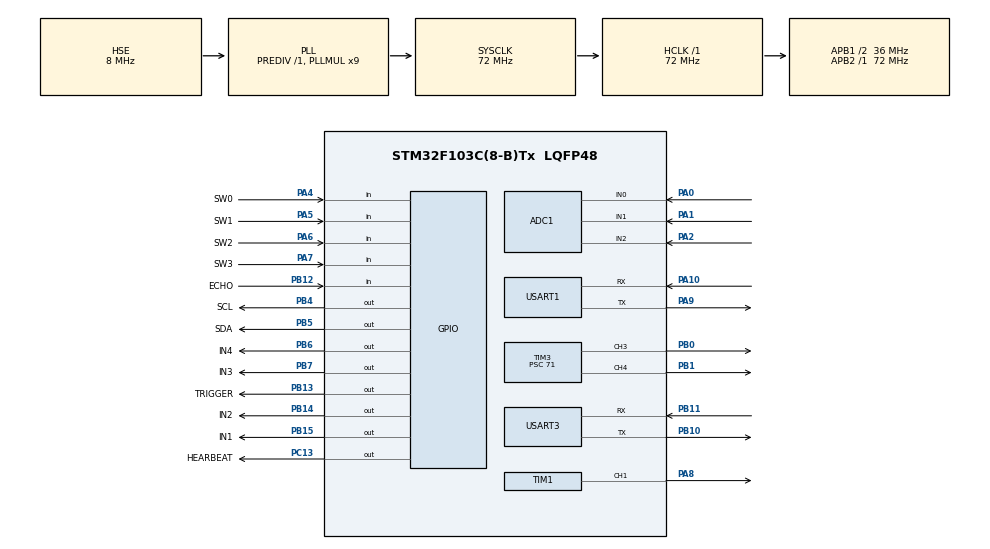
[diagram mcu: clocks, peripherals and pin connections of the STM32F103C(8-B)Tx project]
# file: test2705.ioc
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ADC1.Channel-1\#ChannelRegularConversion=ADC_CHANNEL_0
ADC1.Channel-2\#ChannelRegularConversion=ADC_CHANNEL_0
ADC1.Channel-3\#ChannelRegularConversion=ADC_CHANNEL_0
ADC1.ExternalTrigConv=ADC_EXTERNALTRIGCONV_T4_CC4
ADC1.NbrOfConversion=3
ADC1.NbrOfConversionFlag=1
ADC1.Rank-1\#ChannelRegularConversion=1
ADC1.Rank-2\#ChannelRegularConversion=2
ADC1.Rank-3\#ChannelRegularConversion=3
ADC1.SamplingTime-1\#ChannelRegularConversion=ADC_SAMPLETIME_1CYCLE_5
ADC1.SamplingTime-2\#ChannelRegularConversion=ADC_SAMPLETIME_1CYCLE_5
ADC1.SamplingTime-3\#ChannelRegularConversion=ADC_SAMPLETIME_1CYCLE_5
ADC1.master=1
Dma.ADC1.0.Direction=DMA_PERIPH_TO_MEMORY
Dma.ADC1.0.Instance=DMA1_Channel1
Dma.ADC1.0.MemDataAlignment=DMA_MDATAALIGN_HALFWORD
Dma.ADC1.0.MemInc=DMA_MINC_ENABLE
Dma.ADC1.0.Mode=DMA_CIRCULAR
Dma.ADC1.0.PeriphDataAlignment=DMA_PDATAALIGN_HALFWORD
Dma.ADC1.0.PeriphInc=DMA_PINC_DISABLE
Dma.ADC1.0.Priority=DMA_PRIORITY_LOW
Dma.Request0=ADC1
Mcu.Family=STM32F1
Mcu.Name=STM32F103C(8-B)Tx
Mcu.Package=LQFP48
NVIC.DMA1_Channel1_IRQn=true\:0\:0\:false\:false\:true\:false\:true\:true
NVIC.PriorityGroup=NVIC_PRIORITYGROUP_4
NVIC.TIM2_IRQn=true\:0\:0\:false\:false\:true\:true\:true\:true
NVIC.USART1_IRQn=true\:0\:0\:false\:false\:true\:true\:true\:true
NVIC.USART3_IRQn=true\:0\:0\:false\:false\:true\:true\:true\:true
PA0-WKUP.Signal=ADCx_IN0
PA1.Signal=ADCx_IN1
PA10.Mode=Asynchronous
PA10.Signal=USART1_RX
PA13.Mode=Serial_Wire
PA13.Signal=SYS_JTMS-SWDIO
PA14.Mode=Serial_Wire
PA14.Signal=SYS_JTCK-SWCLK
PA2.Signal=ADCx_IN2
PA4.GPIO_Label=SW0
PA4.Signal=GPIO_Input
PA5.GPIO_Label=SW1
PA5.Signal=GPIO_Input
PA6.GPIO_Label=SW2
PA6.Signal=GPIO_Input
PA7.GPIO_Label=SW3
PA7.Signal=GPIO_Input
PA8.Signal=S_TIM1_CH1
PA9.Mode=Asynchronous
PA9.Signal=USART1_TX
PB0.Signal=S_TIM3_CH3
PB1.Signal=S_TIM3_CH4
PB10.Mode=Asynchronous
PB10.Signal=USART3_TX
PB11.Mode=Asynchronous
PB11.Signal=USART3_RX
PB12.GPIO_Label=ECHO
PB12.Signal=GPIO_Input
PB13.GPIO_Label=TRIGGER
PB13.Signal=GPIO_Output
PB14.GPIO_Label=IN2
PB14.Signal=GPIO_Output
PB15.GPIO_Label=IN1
PB15.Signal=GPIO_Output
PB4.GPIO_Label=SCL
PB4.Signal=GPIO_Output
PB5.GPIO_Label=SDA
PB5.Signal=GPIO_Output
PB6.GPIO_Label=IN4
PB6.Signal=GPIO_Output
PB7.GPIO_Label=IN3
PB7.Signal=GPIO_Output
PC13-TAMPER-RTC.GPIO_Label=HEARBEAT
PC13-TAMPER-RTC.Signal=GPIO_Output
PC14-OSC32_IN.Mode=LSE-External-Oscillator
PC14-OSC32_IN.Signal=RCC_OSC32_IN
PC15-OSC32_OUT.Mode=LSE-External-Oscillator
PC15-OSC32_OUT.Signal=RCC_OSC32_OUT
PD0-OSC_IN.Mode=HSE-External-Oscillator
PD0-OSC_IN.Signal=RCC_OSC_IN
PD1-OSC_OUT.Mode=HSE-External-Oscillator
PD1-OSC_OUT.Signal=RCC_OSC_OUT
ProjectManager.HeapSize=0x200
ProjectManager.StackSize=0x400
ProjectManager.TargetToolchain=STM32CubeIDE
RCC.ADCPresc=RCC_ADCPCLK2_DIV6
RCC.AHBFreq_Value=72000000
RCC.APB1CLKDivider=RCC_HCLK_DIV2
RCC.APB1Freq_Value=36000000
RCC.APB1TimFreq_Value=72000000
RCC.APB2Freq_Value=72000000
RCC.APB2TimFreq_Value=72000000
RCC.HCLKFreq_Value=72000000
RCC.PLLMUL=RCC_PLL_MUL9
RCC.PLLSourceVirtual=RCC_PLLSOURCE_HSE
RCC.SYSCLKFreq_VALUE=72000000
RCC.SYSCLKSource=RCC_SYSCLKSOURCE_PLLCLK
RCC.USBFreq_Value=72000000
SH.ADCx_IN0.0=ADC1_IN0,IN0
SH.ADCx_IN1.0=ADC1_IN1,IN1
SH.ADCx_IN2.0=ADC1_IN2,IN2
SH.S_TIM1_CH1.0=TIM1_CH1,PWM Generation1 CH1
SH.S_TIM3_CH3.0=TIM3_CH3,PWM Generation3 CH3
SH.S_TIM3_CH4.0=TIM3_CH4,PWM Generation4 CH4
TIM1.Channel-PWM\ Generation1\ CH1=TIM_CHANNEL_1
TIM1.Period=19999
TIM1.Prescaler=71
TIM2.Period=99
TIM2.Prescaler=71
TIM3.Channel-PWM\ Generation3\ CH3=TIM_CHANNEL_3
TIM3.Channel-PWM\ Generation4\ CH4=TIM_CHANNEL_4
TIM3.Period=999
TIM3.Prescaler=71
TIM4.Channel-Output\ Compare4\ No\ Output=TIM_CHANNEL_4
TIM4.Period=128
TIM4.Prescaler=71
TIM4.Pulse-Output\ Compare4\ No\ Output=62
TIM4.TIM_MasterOutputTrigger=TIM_TRGO_OC4REF
USART1.VirtualMode=VM_ASYNC
USART3.VirtualMode=VM_ASYNC
VP_TIM2_VS_ClockSourceINT.Mode=Internal
VP_TIM3_VS_ClockSourceINT.Mode=Internal
VP_TIM4_VS_ClockSourceINT.Mode=Internal
VP_TIM4_VS_no_output4.Mode=Output Compare4 No Output
board=custom

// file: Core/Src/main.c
/* USER CODE BEGIN Header */
/**
  ******************************************************************************
  * @file           : main.c
  * @brief          : Main program body
  ******************************************************************************
  * @attention
  *
  * Copyright (c) 2026 STMicroelectronics.
  * All rights reserved.
  *
  * This software is licensed under terms that can be found in the LICENSE file
  * in the root directory of this software component.
  * If no LICENSE file comes with this software, it is provided AS-IS.
  *
  ******************************************************************************
  */
/* USER CODE END Header */
#include "main.h"

/* USER CODE BEGIN Includes */
#include "string.h"
#include "stdio.h"
#include "hcsr04.h"
#include "soft_i2c.h"
#include "ssd1306.h"
#include "ESP01.h"
#include "protocolo.h"
/* USER CODE END Includes */

/* USER CODE BEGIN PTD */
typedef enum {
	CONN_NONE,
	CONN_CONNECTING,
	CONN_WIFI,
	CONN_USB
} _eConnType;
typedef enum {
	MODE_MANUAL,
	MODE_LINE
} _eModeType;
typedef struct {
    uint8_t  buf[256];
    volatile uint16_t iw;
    volatile uint16_t ir;
    volatile uint8_t  active;
} _sUartTxBuf;
/* USER CODE END PTD */

/* USER CODE BEGIN PD */
#define UART_TX_BUF_SIZE 256
/* USER CODE END PD */

ADC_HandleTypeDef hadc1;
DMA_HandleTypeDef hdma_adc1;

TIM_HandleTypeDef htim1;
TIM_HandleTypeDef htim2;
TIM_HandleTypeDef htim3;
TIM_HandleTypeDef htim4;

UART_HandleTypeDef huart1;
UART_HandleTypeDef huart3;

/* USER CODE BEGIN PV */

volatile _eConnType conex_type = CONN_NONE;
volatile _eModeType mode_type = MODE_MANUAL;
uint16_t adc_dma_buf[3] = {0};
volatile uint8_t flag_loop = 0;
uint8_t display_mode = 0;
volatile uint8_t flag_2seg = 0;
volatile uint32_t now_us = 0;
volatile float distancia = 0;
volatile uint16_t pwm_actual = 500;
//uint16_t adc_buf[3];
//192.168.1.10
uint8_t uart1_rx_byte;
uint8_t esp_rx_byte;
HCSR04_t sonar;
SSD1306_t display;
_sESP01Handle hESP01;
_sUartTxBuf uart1_tx = {0};
_sUartTxBuf uart3_tx = {0};
/* USER CODE END PV */

void SystemClock_Config(void);
static void MX_GPIO_Init(void);
static void MX_DMA_Init(void);
static void MX_ADC1_Init(void);
static void MX_USART1_UART_Init(void);
static void MX_TIM2_Init(void);
static void MX_TIM3_Init(void);
static void MX_USART3_UART_Init(void);
static void MX_TIM4_Init(void);
static void MX_TIM1_Init(void);
/* USER CODE BEGIN PFP */
void onESP01StateChange(_eESP01STATUS state);
void CmdParser(uint8_t cmd, uint8_t *payload, uint8_t n);
void trigger_set(uint8_t state);
uint8_t echo_get(void);
void sonar_result(float dist_cm);
void UART1_Send(uint8_t *data, uint16_t len);
void UartTx_Send(_sUartTxBuf *h, UART_HandleTypeDef *huart, uint8_t *data, uint16_t len);
void UartTx_TxCpltCallback(_sUartTxBuf *h, UART_HandleTypeDef *huart);
/* USER CODE END PFP */

/* USER CODE BEGIN 0 */
const char* ConnStr(void) {
    switch(conex_type) {
        case CONN_NONE:       return "Sin conex";
        case CONN_CONNECTING: return "Conectando";
        case CONN_WIFI:       return "WiFi";
        case CONN_USB:        return "USB";
        default:              return "?";
    }
}
const char* ModeStr(void) {
    switch(mode_type) {
        case MODE_MANUAL: return "Manual";
        case MODE_LINE:   return "S.Linea";
        default:          return "?";
    }
}
void UartTx_Send(_sUartTxBuf *h, UART_HandleTypeDef *huart, uint8_t *data, uint16_t len)
{
    for (uint16_t i = 0; i < len; i++) {
        h->buf[h->iw++] = data[i];
        h->iw &= (UART_TX_BUF_SIZE - 1);
    }
    if (!h->active) {
        h->active = 1;
        HAL_UART_Transmit_IT(huart, &h->buf[h->ir], 1);
    }
}

void UartTx_TxCpltCallback(_sUartTxBuf *h, UART_HandleTypeDef *huart)
{
    h->ir++;
    h->ir &= (UART_TX_BUF_SIZE - 1);
    if (h->ir != h->iw)
        HAL_UART_Transmit_IT(huart, &h->buf[h->ir], 1);
    else
        h->active = 0;
}
void ESP01_DebugCallback(const char *str)
{
    // Canal 1: crudo por UART1
	UART1_Send((uint8_t*)str, strlen(str));

    // Canal 2: empaquetado como TEL_LOG para que la HMI lo muestre bonito
    uint8_t len = strlen(str);
    Encode(0x33, (uint8_t*)str, len);
    uint8_t send_buf[64];
    uint8_t send_len = 0;
    while (tx.rBuf.ir != tx.rBuf.iw) {
        send_buf[send_len++] = tx.rBuf.buf[tx.rBuf.ir++];
        tx.rBuf.ir &= (tx.rBuf.size - 1);
    }
    if (send_len > 0)
    	UART1_Send(send_buf, send_len);
}
int __io_putchar(int ch)
{
	UART1_Send((uint8_t *)&ch, 1);
    return ch;
}

void ESP01_DoCHPD(uint8_t value)
{
    // CH_PD fijo a 3.3V, no necesita control
}

int ESP01_WriteUSARTByte(uint8_t value)
{
    UartTx_Send(&uart3_tx, &huart3, &value, 1);
    return 1;
}
void ESP01_WriteByteToBufRX(uint8_t value)
{
    rx.rBuf.buf[rx.rBuf.iw++] = value;
    rx.rBuf.iw &= (rx.rBuf.size - 1);
}
/* USER CODE END 0 */

int main(void)
{

  /* MCU Configuration--------------------------------------------------------*/

  /* Reset of all peripherals, Initializes the Flash interface and the Systick. */
  HAL_Init();

  /* Configure the system clock */
  SystemClock_Config();

  /* Initialize all configured peripherals */
  MX_GPIO_Init();
  MX_DMA_Init();
  MX_ADC1_Init();
  MX_USART1_UART_Init();
  MX_TIM2_Init();
  MX_TIM3_Init();
  MX_USART3_UART_Init();
  MX_TIM4_Init();
  MX_TIM1_Init();
  /* USER CODE BEGIN 2 */
  Protocolo_Init();
  Protocolo_SetCmdParser(CmdParser);
  HAL_TIM_PWM_Start(&htim1, TIM_CHANNEL_1);
  __HAL_TIM_SET_COMPARE(&htim1, TIM_CHANNEL_1, 1500);
  HAL_TIM_Base_Start_IT(&htim2);
  HAL_UART_Receive_IT(&huart1, &uart1_rx_byte, 1);
  HAL_ADCEx_Calibration_Start(&hadc1);
  HAL_ADC_Start_DMA(&hadc1, (uint32_t*)adc_dma_buf, 3);
  HAL_TIM_Base_Start(&htim4);
  HAL_TIM_OC_Start(&htim4, TIM_CHANNEL_4);
  HAL_TIM_PWM_Start(&htim3, TIM_CHANNEL_3);
  HAL_TIM_PWM_Start(&htim3, TIM_CHANNEL_4);
  HCSR04_Init(&sonar, trigger_set, echo_get, sonar_result);
  SSD1306_Init(&display, soft_i2c_write, SSD1306_ADDR);
  SSD1306_Clear(&display);
  SSD1306_DrawText(&display, 0, 0, "UNER-MECATRONICA", 1);
  SSD1306_Update(&display);
  hESP01.DoCHPD         = ESP01_DoCHPD;
  hESP01.WriteUSARTByte = ESP01_WriteUSARTByte;
  hESP01.WriteByteToBufRX = ESP01_WriteByteToBufRX;
  HAL_UART_Receive_IT(&huart3, &esp_rx_byte, 1);
  ESP01_Init(&hESP01);
  ESP01_AttachDebugStr(ESP01_DebugCallback);
  ESP01_AttachChangeState(onESP01StateChange);
  ESP01_SetWIFI("PANOZZOZENERE", "PANOZZO2402");
  //"InternetPlus_2e7438", "wland18bc7"
  /* USER CODE END 2 */

  /* Infinite loop */
  /* USER CODE BEGIN WHILE */
  while (1)
  {
	  ESP01_Task();
	  Decode();

	  if (flag_2seg) {
	      flag_2seg = 0;
	      if (display_mode == 0) {
	          display_mode = 1;  // después de 2 seg pasamos a telemetría
	      }
	  }

      if (flag_loop)
      {
          flag_loop = 0;

          uint32_t adc_izq = adc_dma_buf[0];
          uint32_t adc_cen = adc_dma_buf[1];
          uint32_t adc_der = adc_dma_buf[2];
          uint16_t dist_int = (distancia < 0) ? 0xFFFF : (uint16_t)distancia;

          SSD1306_Clear(&display);
              if (display_mode == 0) {
                  SSD1306_DrawText(&display, 0, 0, "UNER-MECATRONICA", 1);
              } else {
            	  char buf[32];
            	  sprintf(buf, "ESTATUS:");
            	  SSD1306_DrawText(&display, 0, 0, buf, 1);
            	  sprintf(buf, "Conexion: %s", ConnStr());
            	  SSD1306_DrawText(&display, 0, 1, buf, 1);
            	  sprintf(buf, "Modo: %s", ModeStr());
            	  SSD1306_DrawText(&display, 0, 1, buf, 1);
            	  sprintf(buf, "IR: %d %d %d", (int)adc_izq, (int)adc_cen, (int)adc_der);
            	  SSD1306_DrawText(&display, 0, 2, buf, 1);
            	  sprintf(buf, "Dist:%d", dist_int == 0xFFFF ? 9999 : dist_int);
            	  SSD1306_DrawText(&display, 0, 3, buf, 1);
            	  sprintf(buf, "PWM:%d", pwm_actual);
            	  SSD1306_DrawText(&display, 9, 3, buf, 1);
            	  //x es la columna en píxeles — va de 0 a 20
            	  //y es la fila en píxeles — va de 0 a 7
              }
              SSD1306_Update(&display);

              uint8_t payload[8];
              payload[0] = (uint8_t)(adc_izq >> 8);
              payload[1] = (uint8_t)(adc_izq & 0xFF);
              payload[2] = (uint8_t)(adc_cen >> 8);
              payload[3] = (uint8_t)(adc_cen & 0xFF);
              payload[4] = (uint8_t)(adc_der >> 8);
              payload[5] = (uint8_t)(adc_der & 0xFF);
              payload[6] = (uint8_t)(dist_int >> 8);
              payload[7] = (uint8_t)(dist_int & 0xFF);
              Encode(0x30, payload, 8);

              // 3. Extraemos los bytes del búfer circular de transmisión (tx)
                    uint8_t send_buf[32];
                    uint8_t send_len = 0;

                    // Vaciamos el búfer circular hacia un arreglo lineal para DMA/Polling
                    // (Asumiendo que 'tx' está accesible vía protocolo.h)
                    while (tx.rBuf.ir != tx.rBuf.iw)
                    {
                        send_buf[send_len++] = tx.rBuf.buf[tx.rBuf.ir++];
                        // El enmascaramiento bit a bit asegura la circularidad formal (potencia de 2)
                        tx.rBuf.ir &= (tx.rBuf.size - 1);
                    }

                    // 4. Transmitimos el datagrama completo a las interfaces físicas
                    if (send_len > 0) {
                    	UART1_Send(send_buf, send_len);
                        if (ESP01_StateUDPTCP() == ESP01_UDPTCP_CONNECTED) {
                            if (ESP01_Send(send_buf, 0, send_len, send_len) == ESP01_SEND_READY) {
                                // ok
                            }
                        }
                    }

      }
    /* USER CODE END WHILE */

  }
}

void SystemClock_Config(void)
{
  RCC_OscInitTypeDef RCC_OscInitStruct = {0};
  RCC_ClkInitTypeDef RCC_ClkInitStruct = {0};
  RCC_PeriphCLKInitTypeDef PeriphClkInit = {0};

  /** Initializes the RCC Oscillators according to the specified parameters
  * in the RCC_OscInitTypeDef structure.
  */
  RCC_OscInitStruct.OscillatorType = RCC_OSCILLATORTYPE_HSE;
  RCC_OscInitStruct.HSEState = RCC_HSE_ON;
  RCC_OscInitStruct.HSEPredivValue = RCC_HSE_PREDIV_DIV1;
  RCC_OscInitStruct.HSIState = RCC_HSI_ON;
  RCC_OscInitStruct.PLL.PLLState = RCC_PLL_ON;
  RCC_OscInitStruct.PLL.PLLSource = RCC_PLLSOURCE_HSE;
  RCC_OscInitStruct.PLL.PLLMUL = RCC_PLL_MUL9;
  if (HAL_RCC_OscConfig(&RCC_OscInitStruct) != HAL_OK)
  {
    Error_Handler();
  }

  /** Initializes the CPU, AHB and APB buses clocks
  */
  RCC_ClkInitStruct.ClockType = RCC_CLOCKTYPE_HCLK|RCC_CLOCKTYPE_SYSCLK
                              |RCC_CLOCKTYPE_PCLK1|RCC_CLOCKTYPE_PCLK2;
  RCC_ClkInitStruct.SYSCLKSource = RCC_SYSCLKSOURCE_PLLCLK;
  RCC_ClkInitStruct.AHBCLKDivider = RCC_SYSCLK_DIV1;
  RCC_ClkInitStruct.APB1CLKDivider = RCC_HCLK_DIV2;
  RCC_ClkInitStruct.APB2CLKDivider = RCC_HCLK_DIV1;

  if (HAL_RCC_ClockConfig(&RCC_ClkInitStruct, FLASH_LATENCY_2) != HAL_OK)
  {
    Error_Handler();
  }
  PeriphClkInit.PeriphClockSelection = RCC_PERIPHCLK_ADC;
  PeriphClkInit.AdcClockSelection = RCC_ADCPCLK2_DIV6;
  if (HAL_RCCEx_PeriphCLKConfig(&PeriphClkInit) != HAL_OK)
  {
    Error_Handler();
  }
}

static void MX_ADC1_Init(void)
{

  ADC_ChannelConfTypeDef sConfig = {0};

  /** Common config
  */
  hadc1.Instance = ADC1;
  hadc1.Init.ScanConvMode = ADC_SCAN_ENABLE;
  hadc1.Init.ContinuousConvMode = DISABLE;
  hadc1.Init.DiscontinuousConvMode = DISABLE;
  hadc1.Init.ExternalTrigConv = ADC_EXTERNALTRIGCONV_T4_CC4;
  hadc1.Init.DataAlign = ADC_DATAALIGN_RIGHT;
  hadc1.Init.NbrOfConversion = 3;
  if (HAL_ADC_Init(&hadc1) != HAL_OK)
  {
    Error_Handler();
  }

  /** Configure Regular Channel
  */
  sConfig.Channel = ADC_CHANNEL_0;
  sConfig.Rank = ADC_REGULAR_RANK_1;
  sConfig.SamplingTime = ADC_SAMPLETIME_1CYCLE_5;
  if (HAL_ADC_ConfigChannel(&hadc1, &sConfig) != HAL_OK)
  {
    Error_Handler();
  }

  /** Configure Regular Channel
  */
  sConfig.Rank = ADC_REGULAR_RANK_2;
  if (HAL_ADC_ConfigChannel(&hadc1, &sConfig) != HAL_OK)
  {
    Error_Handler();
  }

  /** Configure Regular Channel
  */
  sConfig.Rank = ADC_REGULAR_RANK_3;
  if (HAL_ADC_ConfigChannel(&hadc1, &sConfig) != HAL_OK)
  {
    Error_Handler();
  }
  /* USER CODE BEGIN ADC1_Init 2 */
  hadc1.Init.ExternalTrigConv = ADC_EXTERNALTRIGCONV_T4_CC4;
  hadc1.Init.ContinuousConvMode = DISABLE;
  HAL_ADC_Init(&hadc1);

  ADC_ChannelConfTypeDef sConfigFix = {0};
  sConfigFix.SamplingTime = ADC_SAMPLETIME_55CYCLES_5;

  sConfigFix.Channel = ADC_CHANNEL_1;
  sConfigFix.Rank = ADC_REGULAR_RANK_2;
  HAL_ADC_ConfigChannel(&hadc1, &sConfigFix);

  sConfigFix.Channel = ADC_CHANNEL_2;
  sConfigFix.Rank = ADC_REGULAR_RANK_3;
  HAL_ADC_ConfigChannel(&hadc1, &sConfigFix);
  /* USER CODE END ADC1_Init 2 */

}

static void MX_TIM1_Init(void)
{

  TIM_MasterConfigTypeDef sMasterConfig = {0};
  TIM_OC_InitTypeDef sConfigOC = {0};
  TIM_BreakDeadTimeConfigTypeDef sBreakDeadTimeConfig = {0};

  htim1.Instance = TIM1;
  htim1.Init.Prescaler = 71;
  htim1.Init.CounterMode = TIM_COUNTERMODE_UP;
  htim1.Init.Period = 19999;
  htim1.Init.ClockDivision = TIM_CLOCKDIVISION_DIV1;
  htim1.Init.RepetitionCounter = 0;
  htim1.Init.AutoReloadPreload = TIM_AUTORELOAD_PRELOAD_DISABLE;
  if (HAL_TIM_PWM_Init(&htim1) != HAL_OK)
  {
    Error_Handler();
  }
  sMasterConfig.MasterOutputTrigger = TIM_TRGO_RESET;
  sMasterConfig.MasterSlaveMode = TIM_MASTERSLAVEMODE_DISABLE;
  if (HAL_TIMEx_MasterConfigSynchronization(&htim1, &sMasterConfig) != HAL_OK)
  {
    Error_Handler();
  }
  sConfigOC.OCMode = TIM_OCMODE_PWM1;
  sConfigOC.Pulse = 0;
  sConfigOC.OCPolarity = TIM_OCPOLARITY_HIGH;
  sConfigOC.OCNPolarity = TIM_OCNPOLARITY_HIGH;
  sConfigOC.OCFastMode = TIM_OCFAST_DISABLE;
  sConfigOC.OCIdleState = TIM_OCIDLESTATE_RESET;
  sConfigOC.OCNIdleState = TIM_OCNIDLESTATE_RESET;
  if (HAL_TIM_PWM_ConfigChannel(&htim1, &sConfigOC, TIM_CHANNEL_1) != HAL_OK)
  {
    Error_Handler();
  }
  sBreakDeadTimeConfig.OffStateRunMode = TIM_OSSR_DISABLE;
  sBreakDeadTimeConfig.OffStateIDLEMode = TIM_OSSI_DISABLE;
  sBreakDeadTimeConfig.LockLevel = TIM_LOCKLEVEL_OFF;
  sBreakDeadTimeConfig.DeadTime = 0;
  sBreakDeadTimeConfig.BreakState = TIM_BREAK_DISABLE;
  sBreakDeadTimeConfig.BreakPolarity = TIM_BREAKPOLARITY_HIGH;
  sBreakDeadTimeConfig.AutomaticOutput = TIM_AUTOMATICOUTPUT_DISABLE;
  if (HAL_TIMEx_ConfigBreakDeadTime(&htim1, &sBreakDeadTimeConfig) != HAL_OK)
  {
    Error_Handler();
  }
  HAL_TIM_MspPostInit(&htim1);

}

static void MX_TIM2_Init(void)
{

  TIM_ClockConfigTypeDef sClockSourceConfig = {0};
  TIM_MasterConfigTypeDef sMasterConfig = {0};

  htim2.Instance = TIM2;
  htim2.Init.Prescaler = 71;
  htim2.Init.CounterMode = TIM_COUNTERMODE_UP;
  htim2.Init.Period = 99;
  htim2.Init.ClockDivision = TIM_CLOCKDIVISION_DIV1;
  htim2.Init.AutoReloadPreload = TIM_AUTORELOAD_PRELOAD_DISABLE;
  if (HAL_TIM_Base_Init(&htim2) != HAL_OK)
  {
    Error_Handler();
  }
  sClockSourceConfig.ClockSource = TIM_CLOCKSOURCE_INTERNAL;
  if (HAL_TIM_ConfigClockSource(&htim2, &sClockSourceConfig) != HAL_OK)
  {
    Error_Handler();
  }
  sMasterConfig.MasterOutputTrigger = TIM_TRGO_RESET;
  sMasterConfig.MasterSlaveMode = TIM_MASTERSLAVEMODE_DISABLE;
  if (HAL_TIMEx_MasterConfigSynchronization(&htim2, &sMasterConfig) != HAL_OK)
  {
    Error_Handler();
  }

}

static void MX_TIM3_Init(void)
{

  TIM_ClockConfigTypeDef sClockSourceConfig = {0};
  TIM_MasterConfigTypeDef sMasterConfig = {0};
  TIM_OC_InitTypeDef sConfigOC = {0};

  htim3.Instance = TIM3;
  htim3.Init.Prescaler = 71;
  htim3.Init.CounterMode = TIM_COUNTERMODE_UP;
  htim3.Init.Period = 999;
  htim3.Init.ClockDivision = TIM_CLOCKDIVISION_DIV1;
  htim3.Init.AutoReloadPreload = TIM_AUTORELOAD_PRELOAD_DISABLE;
  if (HAL_TIM_Base_Init(&htim3) != HAL_OK)
  {
    Error_Handler();
  }
  sClockSourceConfig.ClockSource = TIM_CLOCKSOURCE_INTERNAL;
  if (HAL_TIM_ConfigClockSource(&htim3, &sClockSourceConfig) != HAL_OK)
  {
    Error_Handler();
  }
  if (HAL_TIM_PWM_Init(&htim3) != HAL_OK)
  {
    Error_Handler();
  }
  sMasterConfig.MasterOutputTrigger = TIM_TRGO_RESET;
  sMasterConfig.MasterSlaveMode = TIM_MASTERSLAVEMODE_DISABLE;
  if (HAL_TIMEx_MasterConfigSynchronization(&htim3, &sMasterConfig) != HAL_OK)
  {
    Error_Handler();
  }
  sConfigOC.OCMode = TIM_OCMODE_PWM1;
  sConfigOC.Pulse = 0;
  sConfigOC.OCPolarity = TIM_OCPOLARITY_HIGH;
  sConfigOC.OCFastMode = TIM_OCFAST_DISABLE;
  if (HAL_TIM_PWM_ConfigChannel(&htim3, &sConfigOC, TIM_CHANNEL_3) != HAL_OK)
  {
    Error_Handler();
  }
  if (HAL_TIM_PWM_ConfigChannel(&htim3, &sConfigOC, TIM_CHANNEL_4) != HAL_OK)
  {
    Error_Handler();
  }
  HAL_TIM_MspPostInit(&htim3);

}

static void MX_TIM4_Init(void)
{

  TIM_ClockConfigTypeDef sClockSourceConfig = {0};
  TIM_MasterConfigTypeDef sMasterConfig = {0};
  TIM_OC_InitTypeDef sConfigOC = {0};

  htim4.Instance = TIM4;
  htim4.Init.Prescaler = 71;
  htim4.Init.CounterMode = TIM_COUNTERMODE_UP;
  htim4.Init.Period = 128;
  htim4.Init.ClockDivision = TIM_CLOCKDIVISION_DIV1;
  htim4.Init.AutoReloadPreload = TIM_AUTORELOAD_PRELOAD_DISABLE;
  if (HAL_TIM_Base_Init(&htim4) != HAL_OK)
  {
    Error_Handler();
  }
  sClockSourceConfig.ClockSource = TIM_CLOCKSOURCE_INTERNAL;
  if (HAL_TIM_ConfigClockSource(&htim4, &sClockSourceConfig) != HAL_OK)
  {
    Error_Handler();
  }
  if (HAL_TIM_OC_Init(&htim4) != HAL_OK)
  {
    Error_Handler();
  }
  sMasterConfig.MasterOutputTrigger = TIM_TRGO_OC4REF;
  sMasterConfig.MasterSlaveMode = TIM_MASTERSLAVEMODE_DISABLE;
  if (HAL_TIMEx_MasterConfigSynchronization(&htim4, &sMasterConfig) != HAL_OK)
  {
    Error_Handler();
  }
  sConfigOC.OCMode = TIM_OCMODE_TIMING;
  sConfigOC.Pulse = 62;
  sConfigOC.OCPolarity = TIM_OCPOLARITY_HIGH;
  sConfigOC.OCFastMode = TIM_OCFAST_DISABLE;
  if (HAL_TIM_OC_ConfigChannel(&htim4, &sConfigOC, TIM_CHANNEL_4) != HAL_OK)
  {
    Error_Handler();
  }
  /* USER CODE BEGIN TIM4_Init 2 */
  sConfigOC.OCMode = TIM_OCMODE_TOGGLE;
  sConfigOC.Pulse = 62;
  HAL_TIM_OC_ConfigChannel(&htim4, &sConfigOC, TIM_CHANNEL_4);
  /* USER CODE END TIM4_Init 2 */

}

static void MX_USART1_UART_Init(void)
{

  huart1.Instance = USART1;
  huart1.Init.BaudRate = 115200;
  huart1.Init.WordLength = UART_WORDLENGTH_8B;
  huart1.Init.StopBits = UART_STOPBITS_1;
  huart1.Init.Parity = UART_PARITY_NONE;
  huart1.Init.Mode = UART_MODE_TX_RX;
  huart1.Init.HwFlowCtl = UART_HWCONTROL_NONE;
  huart1.Init.OverSampling = UART_OVERSAMPLING_16;
  if (HAL_UART_Init(&huart1) != HAL_OK)
  {
    Error_Handler();
  }

}

static void MX_USART3_UART_Init(void)
{

  huart3.Instance = USART3;
  huart3.Init.BaudRate = 115200;
  huart3.Init.WordLength = UART_WORDLENGTH_8B;
  huart3.Init.StopBits = UART_STOPBITS_1;
  huart3.Init.Parity = UART_PARITY_NONE;
  huart3.Init.Mode = UART_MODE_TX_RX;
  huart3.Init.HwFlowCtl = UART_HWCONTROL_NONE;
  huart3.Init.OverSampling = UART_OVERSAMPLING_16;
  if (HAL_UART_Init(&huart3) != HAL_OK)
  {
    Error_Handler();
  }

}

static void MX_DMA_Init(void)
{

  /* DMA controller clock enable */
  __HAL_RCC_DMA1_CLK_ENABLE();

  /* DMA interrupt init */
  /* DMA1_Channel1_IRQn interrupt configuration */
  HAL_NVIC_SetPriority(DMA1_Channel1_IRQn, 0, 0);
  HAL_NVIC_EnableIRQ(DMA1_Channel1_IRQn);

}

static void MX_GPIO_Init(void)
{
  GPIO_InitTypeDef GPIO_InitStruct = {0};

  /* GPIO Ports Clock Enable */
  __HAL_RCC_GPIOC_CLK_ENABLE();
  __HAL_RCC_GPIOD_CLK_ENABLE();
  __HAL_RCC_GPIOA_CLK_ENABLE();
  __HAL_RCC_GPIOB_CLK_ENABLE();

  /*Configure GPIO pin Output Level */
  HAL_GPIO_WritePin(HEARBEAT_GPIO_Port, HEARBEAT_Pin, GPIO_PIN_RESET);

  /*Configure GPIO pin Output Level */
  HAL_GPIO_WritePin(GPIOB, TRIGGER_Pin|IN2_Pin|IN1_Pin|SCL_Pin
                          |SDA_Pin|IN4_Pin|IN3_Pin, GPIO_PIN_RESET);

  /*Configure GPIO pin : HEARBEAT_Pin */
  GPIO_InitStruct.Pin = HEARBEAT_Pin;
  GPIO_InitStruct.Mode = GPIO_MODE_OUTPUT_PP;
  GPIO_InitStruct.Pull = GPIO_NOPULL;
  GPIO_InitStruct.Speed = GPIO_SPEED_FREQ_LOW;
  HAL_GPIO_Init(HEARBEAT_GPIO_Port, &GPIO_InitStruct);

  /*Configure GPIO pins : SW0_Pin SW1_Pin SW2_Pin SW3_Pin */
  GPIO_InitStruct.Pin = SW0_Pin|SW1_Pin|SW2_Pin|SW3_Pin;
  GPIO_InitStruct.Mode = GPIO_MODE_INPUT;
  GPIO_InitStruct.Pull = GPIO_NOPULL;
  HAL_GPIO_Init(GPIOA, &GPIO_InitStruct);

  /*Configure GPIO pin : ECHO_Pin */
  GPIO_InitStruct.Pin = ECHO_Pin;
  GPIO_InitStruct.Mode = GPIO_MODE_INPUT;
  GPIO_InitStruct.Pull = GPIO_NOPULL;
  HAL_GPIO_Init(ECHO_GPIO_Port, &GPIO_InitStruct);

  /*Configure GPIO pins : TRIGGER_Pin IN2_Pin IN1_Pin SCL_Pin
                           SDA_Pin IN4_Pin IN3_Pin */
  GPIO_InitStruct.Pin = TRIGGER_Pin|IN2_Pin|IN1_Pin|SCL_Pin
                          |SDA_Pin|IN4_Pin|IN3_Pin;
  GPIO_InitStruct.Mode = GPIO_MODE_OUTPUT_PP;
  GPIO_InitStruct.Pull = GPIO_NOPULL;
  GPIO_InitStruct.Speed = GPIO_SPEED_FREQ_LOW;
  HAL_GPIO_Init(GPIOB, &GPIO_InitStruct);

}

/* USER CODE BEGIN 4 */
void HAL_TIM_PeriodElapsedCallback(TIM_HandleTypeDef *htim)
{
    if (htim->Instance == TIM2)
    {
        now_us += 100;
        HCSR04_Tick(&sonar, now_us);
    }
}
void HAL_SYSTICK_Callback(void)
{
    static uint16_t esp_tick = 0;
    static uint16_t tick_100ms_cnt = 0;
    static uint32_t tick_servo_cnt = 0;

    esp_tick++;
    if (esp_tick >= 10) {
        esp_tick = 0;
        ESP01_Timeout10ms();
    }

    tick_100ms_cnt++;
    if (tick_100ms_cnt >= 500) {
        tick_100ms_cnt = 0;
        flag_loop = 1;
    }

    tick_servo_cnt++;
    if (tick_servo_cnt >= 2000) {
        tick_servo_cnt = 0;
        flag_2seg = 1;
    }
}
void UART1_Send(uint8_t *data, uint16_t len)
{
    UartTx_Send(&uart1_tx, &huart1, data, len);
}
void HAL_UART_TxCpltCallback(UART_HandleTypeDef *huart)
{
    if (huart->Instance == USART1) UartTx_TxCpltCallback(&uart1_tx, huart);
    if (huart->Instance == USART3) UartTx_TxCpltCallback(&uart3_tx, huart);
}
void HAL_UART_ErrorCallback(UART_HandleTypeDef *huart)
{
    if (huart->Instance == USART3)
    {
        HAL_UART_Receive_IT(&huart3, &esp_rx_byte, 1);
    }
}
void CmdParser(uint8_t cmd, uint8_t *payload, uint8_t n)
{
    switch (cmd)
    {
    	case 0x21:
    	    char *ssid = (char*)payload;
    	    char *pass = ssid + strlen(ssid) + 1;
    	    ESP01_SetWIFI(ssid, pass);
    	    break;
        case 0x10: // CMD_MOVE_FORWARD
            HAL_GPIO_WritePin(GPIOB, GPIO_PIN_15, GPIO_PIN_SET);
            HAL_GPIO_WritePin(GPIOB, GPIO_PIN_14, GPIO_PIN_RESET);
            HAL_GPIO_WritePin(GPIOB, GPIO_PIN_7,  GPIO_PIN_SET);
            HAL_GPIO_WritePin(GPIOB, GPIO_PIN_6,  GPIO_PIN_RESET);
            __HAL_TIM_SET_COMPARE(&htim3, TIM_CHANNEL_3, pwm_actual);
            __HAL_TIM_SET_COMPARE(&htim3, TIM_CHANNEL_4, pwm_actual);
            break;

        case 0x11: // CMD_MOVE_BACKWARD
            HAL_GPIO_WritePin(GPIOB, GPIO_PIN_15, GPIO_PIN_RESET);
            HAL_GPIO_WritePin(GPIOB, GPIO_PIN_14, GPIO_PIN_SET);
            HAL_GPIO_WritePin(GPIOB, GPIO_PIN_7,  GPIO_PIN_RESET);
            HAL_GPIO_WritePin(GPIOB, GPIO_PIN_6,  GPIO_PIN_SET);
            __HAL_TIM_SET_COMPARE(&htim3, TIM_CHANNEL_3, pwm_actual);
            __HAL_TIM_SET_COMPARE(&htim3, TIM_CHANNEL_4, pwm_actual);
            break;

        case 0x12: // CMD_TURN_LEFT
            HAL_GPIO_WritePin(GPIOB, GPIO_PIN_15, GPIO_PIN_RESET);
            HAL_GPIO_WritePin(GPIOB, GPIO_PIN_14, GPIO_PIN_SET);
            HAL_GPIO_WritePin(GPIOB, GPIO_PIN_7,  GPIO_PIN_SET);
            HAL_GPIO_WritePin(GPIOB, GPIO_PIN_6,  GPIO_PIN_RESET);
            __HAL_TIM_SET_COMPARE(&htim3, TIM_CHANNEL_3, pwm_actual);
            __HAL_TIM_SET_COMPARE(&htim3, TIM_CHANNEL_4, pwm_actual);
            break;

        case 0x13: // CMD_TURN_RIGHT
            HAL_GPIO_WritePin(GPIOB, GPIO_PIN_15, GPIO_PIN_SET);
            HAL_GPIO_WritePin(GPIOB, GPIO_PIN_14, GPIO_PIN_RESET);
            HAL_GPIO_WritePin(GPIOB, GPIO_PIN_7,  GPIO_PIN_RESET);
            HAL_GPIO_WritePin(GPIOB, GPIO_PIN_6,  GPIO_PIN_SET);
            __HAL_TIM_SET_COMPARE(&htim3, TIM_CHANNEL_3, pwm_actual);
            __HAL_TIM_SET_COMPARE(&htim3, TIM_CHANNEL_4, pwm_actual);
            break;

        case 0x14: // CMD_STOP
        	HAL_GPIO_WritePin(GPIOB, GPIO_PIN_15, GPIO_PIN_RESET);
        	HAL_GPIO_WritePin(GPIOB, GPIO_PIN_14, GPIO_PIN_RESET);
        	HAL_GPIO_WritePin(GPIOB, GPIO_PIN_7,  GPIO_PIN_RESET);
         	HAL_GPIO_WritePin(GPIOB, GPIO_PIN_6,  GPIO_PIN_RESET);
        	__HAL_TIM_SET_COMPARE(&htim3, TIM_CHANNEL_3, 0);
        	__HAL_TIM_SET_COMPARE(&htim3, TIM_CHANNEL_4, 0);
        	break;
        case 0x15: // CMD_SET_PWM
            if (n >= 1) pwm_actual = (payload[0] * 999) / 100;
            break;

        case 0x16:
            if (n >= 1) {
                // payload[0] es ángulo 0-180
                uint16_t pulse = 500 + (payload[0] * 2000) / 180;
                __HAL_TIM_SET_COMPARE(&htim1, TIM_CHANNEL_1, pulse);
            }
            break;
        case 0x17:
        	uint32_t t = now_us;
        	HCSR04_Trigger(&sonar, t);
        	break;
        case 0x18:
            if (n >= 1) {
                mode_type = (_eModeType)payload[0];
            }
            break;
        case 0x19:
            if (n >= 1) {
                conex_type = (_eConnType)payload[0];
            }
            break;
        default:
            break;
    }
}
void onESP01StateChange(_eESP01STATUS state)
{
    if (state == ESP01_WIFI_CONNECTED)
    {
    	conex_type = CONN_CONNECTING;
        ESP01_StartUDP("192.168.1.102", 5000, 5000);
        //192.168.1.102
        //192.168.1.10
    }
}
void HAL_UART_RxCpltCallback(UART_HandleTypeDef *huart)
{
    if (huart->Instance == USART1)
    {
        // Meter byte en buffer del protocolo
        rx.rBuf.buf[rx.rBuf.iw++] = uart1_rx_byte;
        rx.rBuf.iw &= (rx.rBuf.size - 1);
        HAL_UART_Receive_IT(&huart1, &uart1_rx_byte, 1);
    }
    if (huart->Instance == USART3)
    {
        ESP01_WriteRX(esp_rx_byte);
        HAL_UART_Receive_IT(&huart3, &esp_rx_byte, 1);
    }
}
void sonar_result(float dist_cm)
{
    distancia = dist_cm;
}
void trigger_set(uint8_t state)
{
    HAL_GPIO_WritePin(GPIOB, GPIO_PIN_13,
                      state ? GPIO_PIN_SET : GPIO_PIN_RESET);
}
uint8_t echo_get(void)
{
    return HAL_GPIO_ReadPin(GPIOB, GPIO_PIN_12) ? 1 : 0;
}

/* USER CODE END 4 */

void Error_Handler(void)
{
  __disable_irq();
  while (1)
  {
  }
}
